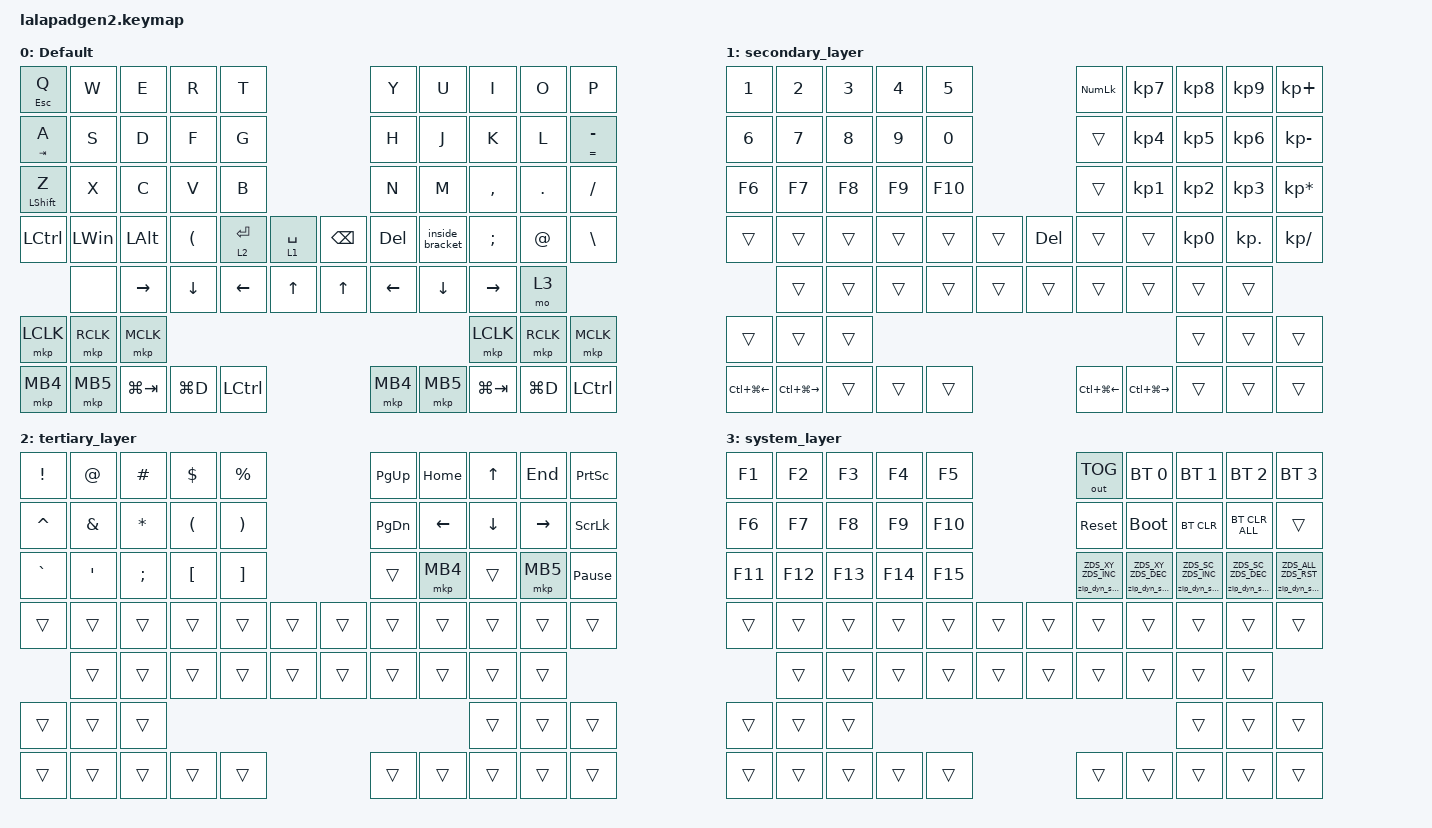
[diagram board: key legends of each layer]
#include <input/processors.dtsi>
#include <dt-bindings/zmk/zip_dynamic_scale.h>
#include <behaviors.dtsi>
#include <dt-bindings/zmk/bt.h>
#include <dt-bindings/zmk/keys.h>
#include <dt-bindings/zmk/outputs.h>
#include <dt-bindings/zmk/pointing.h>

#define DEFAULT_LAYER   0
#define SECONDARY_LAYER 1
#define TERTIARY_LAYER  2
#define SYSTEM_LAYER    3

&mt { quick-tap-ms = <200>; };

&lt { quick-tap-ms = <200>; };

/ {
    behaviors {
        zip_dyn_scale: zip_dyn_scale {
            compatible = "zmk,behavior-zip-dynamic-scale";
            #binding-cells = <2>;
        };

        zip_dyn_scale_set: zip_dyn_scale_set {
            compatible = "zmk,behavior-zip-dynamic-scale-set";
            #binding-cells = <2>;
        };

        mt2: mod_tap2 {
            compatible = "zmk,behavior-hold-tap";
            #binding-cells = <2>;
            flavor = "tap-preferred";
            tapping-term-ms = <200>;
            quick-tap-ms = <200>;
            require-prior-idle-ms = <125>;
            bindings = <&kp>, <&kp>;
        };

        tap_dance_layer_1and2: tap_dance_layer_1and2 {
            compatible = "zmk,behavior-tap-dance";
            label = "td_mo12";
            #binding-cells = <0>;
            bindings = <&mo 1>, <&mo 2>;
        };
    };

    combos {
        compatible = "zmk,combos";

        CONBO_ESC {
            bindings = <&kp ESCAPE>;
            key-positions = <0 1>;
        };

        COMBO_TAB {
            bindings = <&kp TAB>;
            key-positions = <10 11>;
        };

        raycast {
            bindings = <&kp LA(SPACE)>;
            key-positions = <2 3>;
        };

        virtual_stream_deck {
            bindings = <&kp LA(V)>;
            key-positions = <6 7>;
        };
    };

    macros {
        inside_bracket: inside_bracket {
            compatible = "zmk,behavior-macro";
            #binding-cells = <0>;
            bindings = <&kp RIGHT_PARENTHESIS &kp LEFT_ARROW>;
            label = "INSIDE_BRACKET";
        };
    };

    keymap {
        compatible = "zmk,keymap";

        DEFAULT_LAYER {
            display-name = "Default";
            bindings = <
&mt2 ESCAPE Q      &kp W      &kp E         &kp R                 &kp T                                    &kp Y       &kp U            &kp I          &kp O       &kp P
&mt2 TAB A         &kp S      &kp D         &kp F                 &kp G                                    &kp H       &kp J            &kp K          &kp L       &mt2 EQUAL MINUS
&mt2 LEFT_SHIFT Z  &kp X      &kp C         &kp V                 &kp B                                    &kp N       &kp M            &kp COMMA      &kp PERIOD  &kp SLASH
&kp LCTRL          &kp LWIN   &kp LEFT_ALT  &kp LEFT_PARENTHESIS  &lt 2 ENTER  &lt 1 SPACE  &kp BACKSPACE  &kp DELETE  &inside_bracket  &kp SEMICOLON  &kp AT      &kp BACKSLASH
                   &none      &kp RIGHT     &kp DOWN              &kp LEFT     &kp UP       &kp UP         &kp LEFT    &kp DOWN         &kp RIGHT      &mo 3
&mkp LCLK          &mkp RCLK  &mkp MCLK                                                                                                 &mkp LCLK      &mkp RCLK   &mkp MCLK
&mkp MB4           &mkp MB5   &kp LG(TAB)   &kp LG(D)             &kp LCTRL                                &mkp MB4    &mkp MB5         &kp LG(TAB)    &kp LG(D)   &kp LCTRL
            >;
        };

        SECONDARY_LAYER {
            display-name = "secondary_layer";
            bindings = <
&kp NUMBER_1      &kp NUMBER_2       &kp NUMBER_3  &kp NUMBER_4  &kp N5                    &kp KP_NUMLOCK    &kp KP_NUMBER_7    &kp KP_NUMBER_8  &kp KP_NUMBER_9  &kp KP_PLUS
&kp NUMBER_6      &kp N7             &kp N8        &kp N9        &kp N0                    &trans            &kp KP_NUMBER_4    &kp KP_NUMBER_5  &kp KP_NUMBER_6  &kp KP_MINUS
&kp F6            &kp F7             &kp F8        &kp F9        &kp F10                   &trans            &kp KP_NUMBER_1    &kp KP_NUMBER_2  &kp KP_NUMBER_3  &kp KP_ASTERISK
&trans            &trans             &trans        &trans        &trans   &trans  &kp DEL  &trans            &trans             &kp KP_NUMBER_0  &kp KP_DOT       &kp KP_DIVIDE
                  &trans             &trans        &trans        &trans   &trans  &trans   &trans            &trans             &trans           &trans
&trans            &trans             &trans                                                                                     &trans           &trans           &trans
&kp LC(LG(LEFT))  &kp LC(LG(RIGHT))  &trans        &trans        &trans                    &kp LC(LG(LEFT))  &kp LC(LG(RIGHT))  &trans           &trans           &trans
            >;
        };

        TERTIARY_LAYER {
            display-name = "tertiary_layer";
            bindings = <
&kp EXCLAMATION  &kp AT_SIGN    &kp HASH      &kp DOLLAR            &kp PERCENT                            &kp PAGE_UP    &kp HOME  &kp UP_ARROW    &kp END    &kp PRINTSCREEN
&kp CARET        &kp AMPERSAND  &kp ASTERISK  &kp LEFT_PARENTHESIS  &kp RIGHT_PARENTHESIS                  &kp PAGE_DOWN  &kp LEFT  &kp DOWN_ARROW  &kp RIGHT  &kp SCROLLLOCK
&kp GRAVE        &kp SQT        &kp SEMI      &kp LEFT_BRACKET      &kp RIGHT_BRACKET                      &trans         &mkp MB4  &trans          &mkp MB5   &kp PAUSE_BREAK
&trans           &trans         &trans        &trans                &trans                 &trans  &trans  &trans         &trans    &trans          &trans     &trans
                 &trans         &trans        &trans                &trans                 &trans  &trans  &trans         &trans    &trans          &trans
&trans           &trans         &trans                                                                                              &trans          &trans     &trans
&trans           &trans         &trans        &trans                &trans                                 &trans         &trans    &trans          &trans     &trans
            >;
        };

        SYSTEM_LAYER {
            display-name = "system_layer";
            bindings = <
&kp F1   &kp F2   &kp F3   &kp F4   &kp F5                   &out OUT_TOG                   &bt BT_SEL 0                   &bt BT_SEL 1                   &bt BT_SEL 2                   &bt BT_SEL 3
&kp F6   &kp F7   &kp F8   &kp F9   &kp F10                  &sys_reset                     &bootloader                    &bt BT_CLR                     &bt BT_CLR_ALL                 &trans
&kp F11  &kp F12  &kp F13  &kp F14  &kp F15                  &zip_dyn_scale ZDS_XY ZDS_INC  &zip_dyn_scale ZDS_XY ZDS_DEC  &zip_dyn_scale ZDS_SC ZDS_INC  &zip_dyn_scale ZDS_SC ZDS_DEC  &zip_dyn_scale ZDS_ALL ZDS_RST
&trans   &trans   &trans   &trans   &trans   &trans  &trans  &trans                         &trans                         &trans                         &trans                         &trans
         &trans   &trans   &trans   &trans   &trans  &trans  &trans                         &trans                         &trans                         &trans
&trans   &trans   &trans                                                                                                   &trans                         &trans                         &trans
&trans   &trans   &trans   &trans   &trans                   &trans                         &trans                         &trans                         &trans                         &trans
            >;
        };
    };

    conditional_layers {
        compatible = "zmk,conditional-layers";

        Cond_Syslayer {
            if-layers = <1 2>;
            then-layer = <3>;
        };
    };
};
